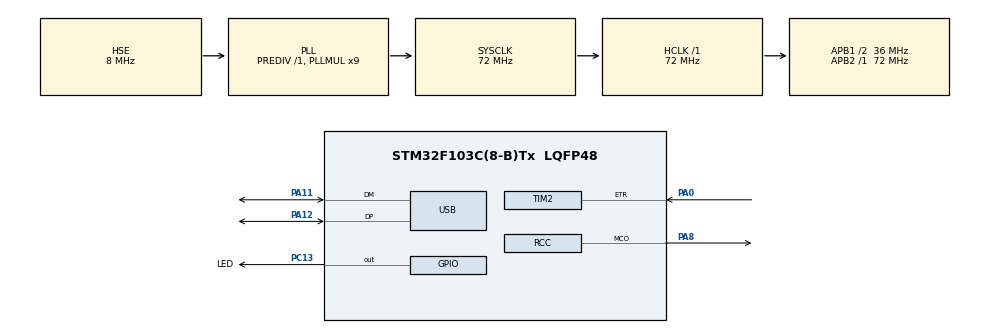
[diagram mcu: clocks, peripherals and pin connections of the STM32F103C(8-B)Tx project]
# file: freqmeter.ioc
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Mcu.Family=STM32F1
Mcu.Name=STM32F103C(8-B)Tx
Mcu.Package=LQFP48
NVIC.PriorityGroup=NVIC_PRIORITYGROUP_4
NVIC.TIM2_IRQn=true\:0\:0\:false\:false\:true\:true\:true
NVIC.USB_LP_CAN1_RX0_IRQn=true\:0\:0\:false\:false\:true\:false\:true
PA0-WKUP.Signal=S_TIM2_CH1_ETR
PA11.Mode=Device
PA11.Signal=USB_DM
PA12.Mode=Device
PA12.Signal=USB_DP
PA13.Mode=Serial_Wire
PA13.Signal=SYS_JTMS-SWDIO
PA14.Mode=Serial_Wire
PA14.Signal=SYS_JTCK-SWCLK
PA8.Mode=Clock-out
PA8.Signal=RCC_MCO
PC13-TAMPER-RTC.GPIO_Label=LED
PC13-TAMPER-RTC.Signal=GPIO_Output
PC14-OSC32_IN.Mode=LSE-External-Oscillator
PC14-OSC32_IN.Signal=RCC_OSC32_IN
PC15-OSC32_OUT.Mode=LSE-External-Oscillator
PC15-OSC32_OUT.Signal=RCC_OSC32_OUT
PD0-OSC_IN.Mode=HSE-External-Oscillator
PD0-OSC_IN.Signal=RCC_OSC_IN
PD1-OSC_OUT.Mode=HSE-External-Oscillator
PD1-OSC_OUT.Signal=RCC_OSC_OUT
ProjectManager.HeapSize=0x200
ProjectManager.StackSize=0x400
ProjectManager.TargetToolchain=STM32CubeIDE
RCC.AHBFreq_Value=72000000
RCC.APB1CLKDivider=RCC_HCLK_DIV2
RCC.APB1Freq_Value=36000000
RCC.APB1TimFreq_Value=72000000
RCC.APB2Freq_Value=72000000
RCC.APB2TimFreq_Value=72000000
RCC.HCLKFreq_Value=72000000
RCC.PLLMUL=RCC_PLL_MUL9
RCC.RCC_MCOSource=RCC_MCO1SOURCE_PLLCLK
RCC.SYSCLKFreq_VALUE=72000000
RCC.SYSCLKSource=RCC_SYSCLKSOURCE_PLLCLK
RCC.USBFreq_Value=48000000
RCC.USBPrescaler=RCC_USBCLKSOURCE_PLL_DIV1_5
SH.S_TIM2_CH1_ETR.0=TIM2_ETR,TriggerSource_ETR
TIM2.TIM_MasterOutputTrigger=TIM_TRGO_UPDATE
USB_DEVICE.CLASS_NAME_FS=CDC
USB_DEVICE.VirtualMode=Cdc
USB_DEVICE.VirtualModeFS=Cdc_FS
VP_TIM2_VS_ControllerModeClock.Mode=Clock Mode
VP_USB_DEVICE_VS_USB_DEVICE_CDC_FS.Mode=CDC_FS
board=custom

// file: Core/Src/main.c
/* USER CODE BEGIN Header */
/**
  ******************************************************************************
  * @file           : main.c
  * @brief          : Main program body
  ******************************************************************************
  * @attention
  *
  * <h2><center>&copy; Copyright (c) 2021 STMicroelectronics.
  * All rights reserved.</center></h2>
  *
  * This software component is licensed by ST under Ultimate Liberty license
  * SLA0044, the "License"; You may not use this file except in compliance with
  * the License. You may obtain a copy of the License at:
  *                             www.st.com/SLA0044
  *
  ******************************************************************************
  */
/* USER CODE END Header */
#include "main.h"
#include "usb_device.h"

/* USER CODE BEGIN Includes */

#include <stdio.h>

/* USER CODE END Includes */

/* USER CODE BEGIN PD */

#define PACKET_SIZE 64
#define BUFFER_SIZE 256
#define DISP_DELAY  100

/* USER CODE END PD */

TIM_HandleTypeDef htim2;

/* USER CODE BEGIN PV */

static char buffer[ BUFFER_SIZE ];

static volatile uint32_t systick_ms   = 0;
static volatile uint32_t freq         = 0; /* 32bit = approx. 4.3G ticks per second. */
static volatile uint32_t freq_scratch = 0; /* scratch pad. */
static volatile uint8_t hold          = 0;
static uint8_t mco_current = 0; // Default to off.

/* USER CODE END PV */

void SystemClock_Config(void);
static void MX_GPIO_Init(void);
static void MX_TIM2_Init(void);
/* USER CODE BEGIN PFP */

void usbcdc_printf( const char *fmt, uint32_t arg );
void usbcdc_clear_screen(void);
void tim2_interrupt(void);
void sys_tick_interrupt(void);
void usbcdc_printfreq( uint32_t frequency, uint8_t hold, uint8_t mco_val );

/* USER CODE END PFP */

int main(void)
{

  /* MCU Configuration--------------------------------------------------------*/

  /* Reset of all peripherals, Initializes the Flash interface and the Systick. */
  HAL_Init();

  /* Configure the system clock */
  SystemClock_Config();

  /* Initialize all configured peripherals */
  MX_GPIO_Init();
  MX_TIM2_Init();
  MX_USB_DEVICE_Init();
  /* USER CODE BEGIN 2 */

  // Wait 500ms for USB setup to complete before trying to send anything.
  HAL_Delay( 500 );

  __TIM2_CLK_ENABLE();
  HAL_TIM_Base_Start_IT( &htim2 );
//  HAL_TIM_Base_Start( &htim2 );

  /* USER CODE END 2 */

  /* Infinite loop */
  while (1)
  {

    /* USER CODE BEGIN 3 */
//	  HAL_GPIO_TogglePin(GPIOC, GPIO_PIN_13); // simple LED blinking
//	  CDC_Transmit_FS( "X\r\n", 3 ); // USB test
//	  HAL_Delay( 1000 );

	  usbcdc_clear_screen();
	  usbcdc_printfreq( freq, hold, mco_current );
	  HAL_Delay( DISP_DELAY );
  }
  /* USER CODE END 3 */
}

void SystemClock_Config(void)
{
  RCC_OscInitTypeDef RCC_OscInitStruct = {0};
  RCC_ClkInitTypeDef RCC_ClkInitStruct = {0};
  RCC_PeriphCLKInitTypeDef PeriphClkInit = {0};

  /** Initializes the RCC Oscillators according to the specified parameters
  * in the RCC_OscInitTypeDef structure.
  */
  RCC_OscInitStruct.OscillatorType = RCC_OSCILLATORTYPE_HSE;
  RCC_OscInitStruct.HSEState = RCC_HSE_ON;
  RCC_OscInitStruct.HSEPredivValue = RCC_HSE_PREDIV_DIV1;
  RCC_OscInitStruct.HSIState = RCC_HSI_ON;
  RCC_OscInitStruct.PLL.PLLState = RCC_PLL_ON;
  RCC_OscInitStruct.PLL.PLLSource = RCC_PLLSOURCE_HSE;
  RCC_OscInitStruct.PLL.PLLMUL = RCC_PLL_MUL9;
  if (HAL_RCC_OscConfig(&RCC_OscInitStruct) != HAL_OK)
  {
    Error_Handler();
  }
  /** Initializes the CPU, AHB and APB buses clocks
  */
  RCC_ClkInitStruct.ClockType = RCC_CLOCKTYPE_HCLK|RCC_CLOCKTYPE_SYSCLK
                              |RCC_CLOCKTYPE_PCLK1|RCC_CLOCKTYPE_PCLK2;
  RCC_ClkInitStruct.SYSCLKSource = RCC_SYSCLKSOURCE_PLLCLK;
  RCC_ClkInitStruct.AHBCLKDivider = RCC_SYSCLK_DIV1;
  RCC_ClkInitStruct.APB1CLKDivider = RCC_HCLK_DIV2;
  RCC_ClkInitStruct.APB2CLKDivider = RCC_HCLK_DIV1;

  if (HAL_RCC_ClockConfig(&RCC_ClkInitStruct, FLASH_LATENCY_2) != HAL_OK)
  {
    Error_Handler();
  }
  PeriphClkInit.PeriphClockSelection = RCC_PERIPHCLK_USB;
  PeriphClkInit.UsbClockSelection = RCC_USBCLKSOURCE_PLL_DIV1_5;
  if (HAL_RCCEx_PeriphCLKConfig(&PeriphClkInit) != HAL_OK)
  {
    Error_Handler();
  }
  HAL_RCC_MCOConfig(RCC_MCO, RCC_MCO1SOURCE_NOCLOCK, RCC_MCODIV_1);
}

static void MX_TIM2_Init(void)
{

  TIM_SlaveConfigTypeDef sSlaveConfig = {0};
  TIM_MasterConfigTypeDef sMasterConfig = {0};

  htim2.Instance = TIM2;
  htim2.Init.Prescaler = 0;
  htim2.Init.CounterMode = TIM_COUNTERMODE_UP;
  htim2.Init.Period = 65535;
  htim2.Init.ClockDivision = TIM_CLOCKDIVISION_DIV1;
  htim2.Init.AutoReloadPreload = TIM_AUTORELOAD_PRELOAD_DISABLE;
  if (HAL_TIM_Base_Init(&htim2) != HAL_OK)
  {
    Error_Handler();
  }
  sSlaveConfig.SlaveMode = TIM_SLAVEMODE_EXTERNAL1;
  sSlaveConfig.InputTrigger = TIM_TS_ETRF;
  sSlaveConfig.TriggerPolarity = TIM_TRIGGERPOLARITY_NONINVERTED;
  sSlaveConfig.TriggerPrescaler = TIM_TRIGGERPRESCALER_DIV1;
  sSlaveConfig.TriggerFilter = 0;
  if (HAL_TIM_SlaveConfigSynchro(&htim2, &sSlaveConfig) != HAL_OK)
  {
    Error_Handler();
  }
  sMasterConfig.MasterOutputTrigger = TIM_TRGO_UPDATE;
  sMasterConfig.MasterSlaveMode = TIM_MASTERSLAVEMODE_DISABLE;
  if (HAL_TIMEx_MasterConfigSynchronization(&htim2, &sMasterConfig) != HAL_OK)
  {
    Error_Handler();
  }

}

static void MX_GPIO_Init(void)
{
  GPIO_InitTypeDef GPIO_InitStruct = {0};

  /* GPIO Ports Clock Enable */
  __HAL_RCC_GPIOC_CLK_ENABLE();
  __HAL_RCC_GPIOD_CLK_ENABLE();
  __HAL_RCC_GPIOA_CLK_ENABLE();

  /*Configure GPIO pin Output Level */
  HAL_GPIO_WritePin(LED_GPIO_Port, LED_Pin, GPIO_PIN_RESET);

  /*Configure GPIO pin : LED_Pin */
  GPIO_InitStruct.Pin = LED_Pin;
  GPIO_InitStruct.Mode = GPIO_MODE_OUTPUT_PP;
  GPIO_InitStruct.Pull = GPIO_NOPULL;
  GPIO_InitStruct.Speed = GPIO_SPEED_FREQ_LOW;
  HAL_GPIO_Init(LED_GPIO_Port, &GPIO_InitStruct);

  /*Configure GPIO pin : PA8 */
  GPIO_InitStruct.Pin = GPIO_PIN_8;
  GPIO_InitStruct.Mode = GPIO_MODE_AF_PP;
  GPIO_InitStruct.Speed = GPIO_SPEED_FREQ_LOW;
  HAL_GPIO_Init(GPIOA, &GPIO_InitStruct);

}

/* USER CODE BEGIN 4 */
// =============================================================================
void poll_usb_command( uint8_t one_num ) {
	switch( one_num ) {
	case 'A' :
	case 'a' : HAL_GPIO_WritePin( GPIOC, GPIO_PIN_13, GPIO_PIN_SET );
	           break;
	case 'D' :
	case 'd' : HAL_GPIO_WritePin( GPIOC, GPIO_PIN_13, GPIO_PIN_RESET );
	           break;
	case 'T' :
	case 't' : HAL_GPIO_TogglePin( GPIOC, GPIO_PIN_13 );
	           break;
	case 'C' :
	case 'c' : usbcdc_clear_screen();
	           break;
	case 'M' :
	case 'm' : if( ++mco_current > 3 ) mco_current = 0;
		       set_mco();
	           break;
	case 'H' :
	case 'h' : hold = hold ? 0 : 1;
	           break;
	}
}

void usbcdc_clear_screen(void) {
	CDC_Transmit_FS( "\033c\r", 3 );
}

void usbcdc_printfreq( uint32_t frequency, uint8_t hold, uint8_t mco_val ) {
	  uint16_t len1;
	  uint8_t len2;
	  uint8_t loop;
	  char *end_text1 = " MHz\r\n\r\n";
	  char *end_text2 = " MHz HOLD\r\n\r\n";
	  char *mco_text = "Clock output: ";
	  const uint8_t MAX_BUF_SIZE = 20;
	  char buffer1[ MAX_BUF_SIZE ];

	  len1 = snprintf( buffer1, MAX_BUF_SIZE, "%4lu.", frequency / 1000000 );
	  for( loop = 0; loop < len1; loop++ ) {
		  buffer[ loop ] = buffer1[ loop ];
	  }
	  len2 = snprintf( buffer1, MAX_BUF_SIZE, "%06lu", frequency % 1000000 );
	  for( loop = 0; loop < len2; loop++ ) {
		  buffer[ len1 + loop ] = buffer1[ loop ];
	  }
	  len1 += len2;
	  if( hold ) {
		  len2 = strlen( end_text2 );
		  for( loop = 0; loop < len2; loop++ ) {
			  buffer[ len1 + loop ] = end_text2[ loop ];
		  }
	  }
	  else {
		  len2 = strlen( end_text1 );
		  for( loop = 0; loop < len2; loop++ ) {
			  buffer[ len1 + loop ] = end_text1[ loop ];
		  }
	  }
	  len1 += len2;
	  len2 = strlen( mco_text );
	  for( loop = 0; loop < len2; loop++ ) {
		  buffer[ len1 + loop ] = mco_text[ loop ];
	  }
	  len1 += len2;
	  buffer[ len1++ ] = 0;
	  switch( mco_val ) {
	  	  case 0 : strcat( buffer, "OFF\r\n");
				   len1 += 5;
				   break;
	  	  case 1 : strcat( buffer, "PLL/2 = 36MHz\r\n");
				   len1 += 15;
				   break;
	  	  case 2 : strcat( buffer, "HSI = 8MHz\r\n");
				   len1 += 12;
				   break;
	  	  case 3 : strcat( buffer, "HSE = 8MHz\r\n");
				   len1 += 12;
				   break;
	  }
	  CDC_Transmit_FS( buffer, len1);
}

void set_mco() {
	switch( mco_current ) {
	case 0 : HAL_RCC_MCOConfig( RCC_MCO, RCC_MCO1SOURCE_NOCLOCK, RCC_MCODIV_1 ); // no MCO
	         break;
	case 1 : HAL_RCC_MCOConfig( RCC_MCO, RCC_MCO1SOURCE_PLLCLK, RCC_MCODIV_1 ); // PLLCLK / 2 = 36MHz
	         break;
	case 2 : HAL_RCC_MCOConfig( RCC_MCO, RCC_MCO1SOURCE_HSI, RCC_MCODIV_1 ); // HSI ~8MHz
	         break;
	case 3 : HAL_RCC_MCOConfig( RCC_MCO, RCC_MCO1SOURCE_HSE, RCC_MCODIV_1 ); // HSE =8MHz
	         break;
	default : HAL_RCC_MCOConfig( RCC_MCO, RCC_MCO1SOURCE_NOCLOCK, RCC_MCODIV_1 );
	          mco_current = 0;
	         break;
	}
}

// =============================================================================

void tim2_interrupt(void) {
    freq_scratch += 65536; /* TIM2 is 16-bit and overflows every 65536 events. */
}

void sys_tick_interrupt(void) {
  systick_ms++;

  if (systick_ms % 1000 == 0) {
    /* Scratch pad to finalized result */
    if( ! hold ) {
      freq = freq_scratch + __HAL_TIM_GetCounter( &htim2 );
      freq *= 1.000004;
    }
    // Reset the counter. This will generate one extra overflow for next measurement.
    // In case of nothing got counted, manually generate a reset to keep consistency.
    __HAL_TIM_SetCounter( &htim2, 1);
    __HAL_TIM_SetCounter( &htim2, 0);
    freq_scratch = 0;
    HAL_GPIO_TogglePin( GPIOC, GPIO_PIN_13 );
  }
}

// =============================================================================
/* USER CODE END 4 */

void Error_Handler(void)
{
}

/************************ (C) COPYRIGHT STMicroelectronics *****END OF FILE****/
